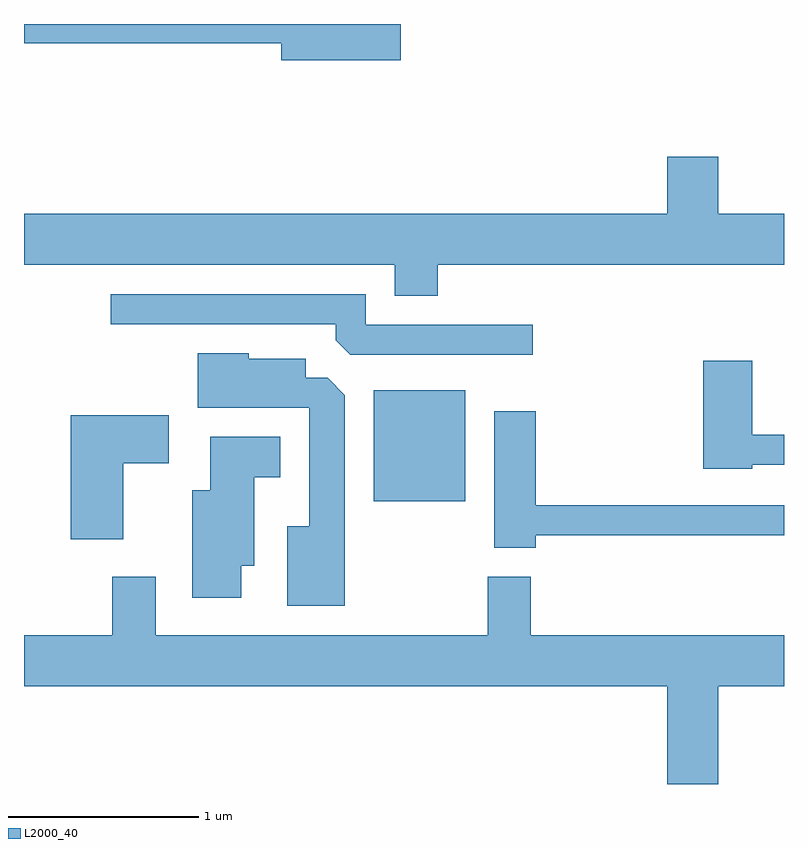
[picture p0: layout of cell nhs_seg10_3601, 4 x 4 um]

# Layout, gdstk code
import gdstk
lib = gdstk.Library(unit=1e-6, precision=1e-09)
def R(c, l, rs):  # rectangles x0, y0, x1, y1
    for r in rs: c.add(gdstk.rectangle(r[:2], r[2:], *l))
def P(c, l, *ps):  # polygons
    for p in ps: c.add(gdstk.Polygon(p, *l))
L2000_40 = (2000, 40)

nhs_seg10_3601 = lib.new_cell('nhs_seg10_3601')
R(nhs_seg10_3601, L2000_40, [(293.451,2106.011,293.934,2106.594)])
P(nhs_seg10_3601, L2000_40, [(293.594,2108.522),(291.611,2108.522),(291.611,2108.421),(292.966,2108.421),(292.966,2108.331),(293.594,2108.331)],
  [(293.789,2107.256),(295.611,2107.256),(295.611,2107.524),(295.264,2107.524),(295.264,2107.824),(294.996,2107.824),(294.996,2107.524),(291.611,2107.524),(291.611,2107.256),(293.561,2107.256),(293.561,2107.091),(293.789,2107.091)],
  [(294.288,2106.939),(293.409,2106.939),(293.409,2107.099),(292.068,2107.099),(292.068,2106.941),(293.251,2106.941),(293.251,2106.857),(293.327,2106.781),(294.288,2106.781)],
  [(293.299,2106.569),(293.209,2106.659),(293.094,2106.659),(293.094,2106.759),(292.794,2106.759),(292.794,2106.789),(292.526,2106.789),(292.526,2106.501),(293.111,2106.501),(293.111,2105.879),(292.996,2105.879),(292.996,2105.461),(293.299,2105.461)],
  [(295.444,2106.201),(295.611,2106.201),(295.611,2106.359),(295.444,2106.359),(295.444,2106.749),(295.186,2106.749),(295.186,2106.181),(295.444,2106.181)],
  [(294.304,2105.831),(295.611,2105.831),(295.611,2105.989),(294.304,2105.989),(294.304,2106.484),(294.086,2106.484),(294.086,2105.766),(294.304,2105.766)],
  [(292.134,2106.211),(292.374,2106.211),(292.374,2106.464),(291.856,2106.464),(291.856,2105.811),(292.134,2105.811)],
  [(292.754,2105.671),(292.824,2105.671),(292.824,2106.136),(292.959,2106.136),(292.959,2106.349),(292.591,2106.349),(292.591,2106.069),(292.496,2106.069),(292.496,2105.501),(292.754,2105.501)],
  [(295.264,2105.036),(295.611,2105.036),(295.611,2105.304),(294.279,2105.304),(294.279,2105.614),(294.051,2105.614),(294.051,2105.304),(292.304,2105.304),(292.304,2105.614),(292.076,2105.614),(292.076,2105.304),(291.611,2105.304),(291.611,2105.036),(294.996,2105.036),(294.996,2104.522),(295.264,2104.522)])

lib.write_gds('nhs_seg10_3601.gds')
